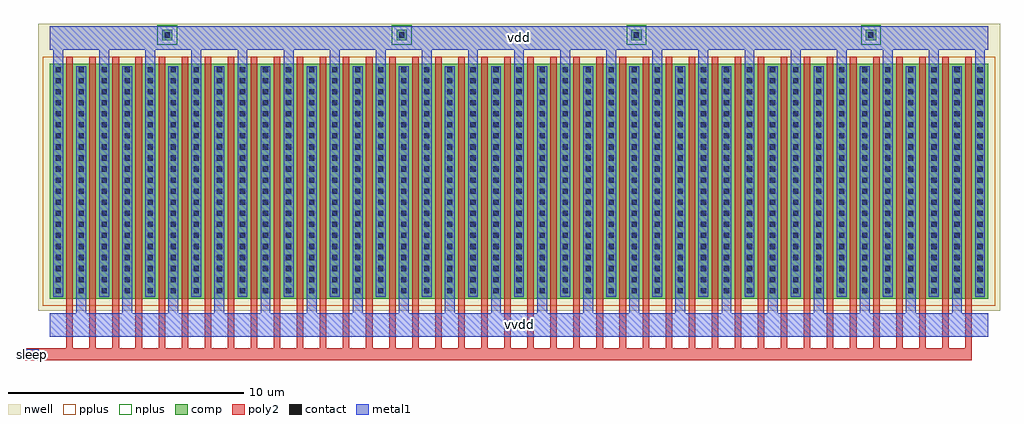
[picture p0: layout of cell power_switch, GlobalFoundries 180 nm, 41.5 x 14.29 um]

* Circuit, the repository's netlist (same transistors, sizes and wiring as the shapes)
* power_switch -- LVS reference (schematic-side) netlist.
*
* Hand-written, NOT a copy of `klt extract` output -- see
* layout/testcells/trng_tc_inv.spice for why that distinction matters (an
* LVS run whose reference is the extractor's own output proves nothing).
* Transcribed from design/power_switch.spice (exported from
* design/xschem/power_switch.sch) at its default parameters wf=10u nfing=40
* lsw=0.28u: one PFET with m=40, written here as the 40 single-finger devices the
* drawn layout is, so the comparison does not depend on how the tool merges
* parallel devices. It is independent of the geometry in this directory.
*
* Device topology:
*
*   vdd --[MP1..MP40: g=sleep, W=10, L=0.28]-- vvdd
*
* Device sizes must agree with layout/cells/power_switch/build.py's W_FINGER/
* L_GATE/NFING -- `klt lvs` compares W and L as device properties.
*
* Bulk is `vdd`, as design/xschem/power_switch.sch wires it: the layout draws
* Nwell taps (Nplus Comp, contacted to the vdd bar), so `klt extract` ties the
* well to vdd and the body connection is verified, not floating.

.SUBCKT power_switch sleep vdd vvdd
MP1 vvdd sleep vdd vdd pfet L=0.28U W=10U
MP2 vvdd sleep vdd vdd pfet L=0.28U W=10U
MP3 vvdd sleep vdd vdd pfet L=0.28U W=10U
MP4 vvdd sleep vdd vdd pfet L=0.28U W=10U
MP5 vvdd sleep vdd vdd pfet L=0.28U W=10U
MP6 vvdd sleep vdd vdd pfet L=0.28U W=10U
MP7 vvdd sleep vdd vdd pfet L=0.28U W=10U
MP8 vvdd sleep vdd vdd pfet L=0.28U W=10U
MP9 vvdd sleep vdd vdd pfet L=0.28U W=10U
MP10 vvdd sleep vdd vdd pfet L=0.28U W=10U
MP11 vvdd sleep vdd vdd pfet L=0.28U W=10U
MP12 vvdd sleep vdd vdd pfet L=0.28U W=10U
MP13 vvdd sleep vdd vdd pfet L=0.28U W=10U
MP14 vvdd sleep vdd vdd pfet L=0.28U W=10U
MP15 vvdd sleep vdd vdd pfet L=0.28U W=10U
MP16 vvdd sleep vdd vdd pfet L=0.28U W=10U
MP17 vvdd sleep vdd vdd pfet L=0.28U W=10U
MP18 vvdd sleep vdd vdd pfet L=0.28U W=10U
MP19 vvdd sleep vdd vdd pfet L=0.28U W=10U
MP20 vvdd sleep vdd vdd pfet L=0.28U W=10U
MP21 vvdd sleep vdd vdd pfet L=0.28U W=10U
MP22 vvdd sleep vdd vdd pfet L=0.28U W=10U
MP23 vvdd sleep vdd vdd pfet L=0.28U W=10U
MP24 vvdd sleep vdd vdd pfet L=0.28U W=10U
MP25 vvdd sleep vdd vdd pfet L=0.28U W=10U
MP26 vvdd sleep vdd vdd pfet L=0.28U W=10U
MP27 vvdd sleep vdd vdd pfet L=0.28U W=10U
MP28 vvdd sleep vdd vdd pfet L=0.28U W=10U
MP29 vvdd sleep vdd vdd pfet L=0.28U W=10U
MP30 vvdd sleep vdd vdd pfet L=0.28U W=10U
MP31 vvdd sleep vdd vdd pfet L=0.28U W=10U
MP32 vvdd sleep vdd vdd pfet L=0.28U W=10U
MP33 vvdd sleep vdd vdd pfet L=0.28U W=10U
MP34 vvdd sleep vdd vdd pfet L=0.28U W=10U
MP35 vvdd sleep vdd vdd pfet L=0.28U W=10U
MP36 vvdd sleep vdd vdd pfet L=0.28U W=10U
MP37 vvdd sleep vdd vdd pfet L=0.28U W=10U
MP38 vvdd sleep vdd vdd pfet L=0.28U W=10U
MP39 vvdd sleep vdd vdd pfet L=0.28U W=10U
MP40 vvdd sleep vdd vdd pfet L=0.28U W=10U
.ENDS power_switch

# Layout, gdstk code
import gdstk
lib = gdstk.Library(unit=1e-6, precision=1e-09)
def R(c, l, rs):  # rectangles x0, y0, x1, y1
    for r in rs: c.add(gdstk.rectangle(r[:2], r[2:], *l))
def A(c, l, x, y, w, h, nx, ny, dx, dy):  # array of equal rectangles
    R(c, l, [(x+i*dx, y+j*dy, x+i*dx+w, y+j*dy+h) for i in range(nx) for j in range(ny)])
nwell = (21, 0)
comp = (22, 0)
poly2 = (30, 0)
pplus = (31, 0)
nplus = (32, 0)
contact = (33, 0)
metal1 = (34, 0)

power_switch = lib.new_cell('power_switch')
R(power_switch, nwell, [(-0.5,-0.5,40.4,10.5), (-0.5,10,40.4,11.69)])
R(power_switch, comp, [(0,0,39.9,10), (4.77,11,5.21,11.44), (14.74,11,15.18,11.44), (24.72,11,25.16,11.44), (34.69,11,35.13,11.44)])
A(power_switch, poly2, 0.7, -2.6, 0.28, 12.9, 40, 1, 0.98, 0)
R(power_switch, poly2, [(-1.1,-2.6,39.2,-2.1)])
R(power_switch, pplus, [(-0.3,-0.3,40.2,10.3)])
R(power_switch, nplus, [(4.57,10.8,5.41,11.64), (14.54,10.8,15.38,11.64), (24.52,10.8,25.36,11.64), (34.49,10.8,35.33,11.64)])
A(power_switch, contact, 0.24, 0.24, 0.22, 0.22, 41, 21, 0.98, 0.47)
R(power_switch, contact, [(-0.9,-2.46,-0.68,-2.24), (4.88,11.11,5.1,11.33), (14.85,11.11,15.07,11.33), (24.83,11.11,25.05,11.33), (34.8,11.11,35.02,11.33)])
A(power_switch, metal1, 1.12, -0.6, 0.42, 10.5, 20, 1, 1.96, 0)
A(power_switch, metal1, 0.14, 0.1, 0.42, 10.5, 21, 1, 1.96, 0)
R(power_switch, metal1, [(-1,-2.55,-0.48,-2.15), (0,-1.6,39.9,-0.6), (0,10.6,39.9,11.6)])
power_switch.add(gdstk.Label('vdd', (19.95,11.1), layer=34, texttype=10))
power_switch.add(gdstk.Label('vvdd', (19.95,-1.1), layer=34, texttype=10))
power_switch.add(gdstk.Label('sleep', (-0.74,-2.35), layer=34, texttype=10))

lib.write_gds('power_switch.gds')
